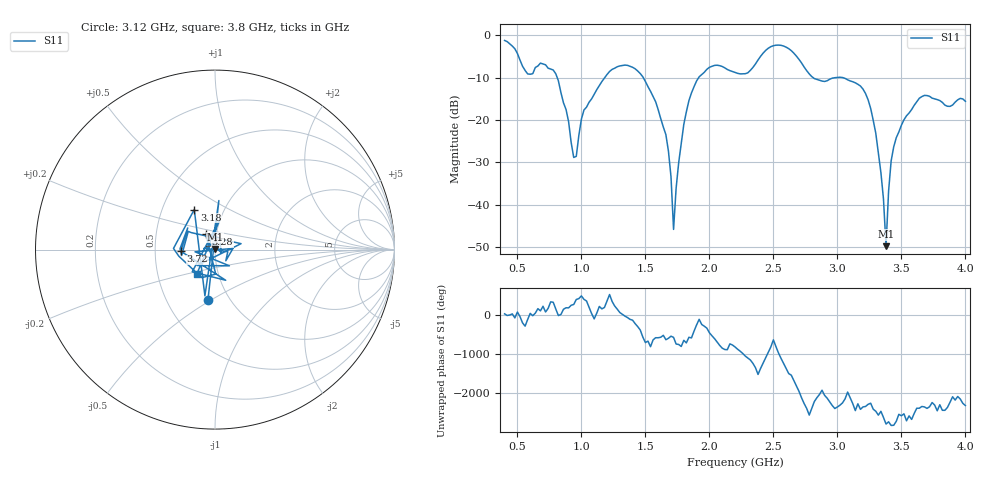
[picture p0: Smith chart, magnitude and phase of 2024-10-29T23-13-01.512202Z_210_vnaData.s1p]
!Created with skrf (http://scikit-rf.org).
# Hz S RI R 50.0
!freq ReS11 ImS11
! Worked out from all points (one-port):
!   181 points, 400 MHz to 4 GHz, reference 50 ohm
!   lowest |S11| = -49.8 dB at 3.38 GHz (marker M1), VSWR 1.01, Z = 49.9 + j0.314 ohm
!   |S11| at or under -10 dB: 810.9 MHz to 1.183 GHz (371.8 MHz wide, 37.3 % of centre); 1.483 GHz to 1.916 GHz (433.2 MHz wide, 25.5 % of centre); 3.041 GHz to end of sweep (the widest 3 of 4)
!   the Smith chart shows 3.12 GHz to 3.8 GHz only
!   S11 on the Smith chart (normalised r, x): 3.12 GHz: 0.79, -0.48; 3.18 GHz: 0.72, +0.34; 3.28 GHz: 0.89, +0.15; 3.72 GHz: 0.68, -0.01; 3.8 GHz: 0.79, -0.22
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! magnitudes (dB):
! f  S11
! 400 MHz  -1.2
! 580 MHz  -9.1
! 780 MHz  -8.2
! 860 MHz  -16.0
! 960 MHz  -28.6
! 1.02 GHz  -17.7
! 1.3 GHz  -7.3
! 1.58 GHz  -15.7
! 1.68 GHz  -27.4
! 1.72 GHz  -45.8
! 1.76 GHz  -30.1
! 1.82 GHz  -18.1
! 1.9 GHz  -10.8
! 2.2 GHz  -8.8
! 2.5 GHz  -2.5
! 2.66 GHz  -4.3
! 2.82 GHz  -10.2
! 3.1 GHz  -10.8
! 3.12 GHz  -11.0
! 3.18 GHz  -12.0
! 3.28 GHz  -20.1
! 3.34 GHz  -32.4
! 3.38 GHz  -49.8
! 3.42 GHz  -29.6
! 3.56 GHz  -18.4
! 3.72 GHz  -14.4
! 3.8 GHz  -15.4
! 4 GHz  -15.6
